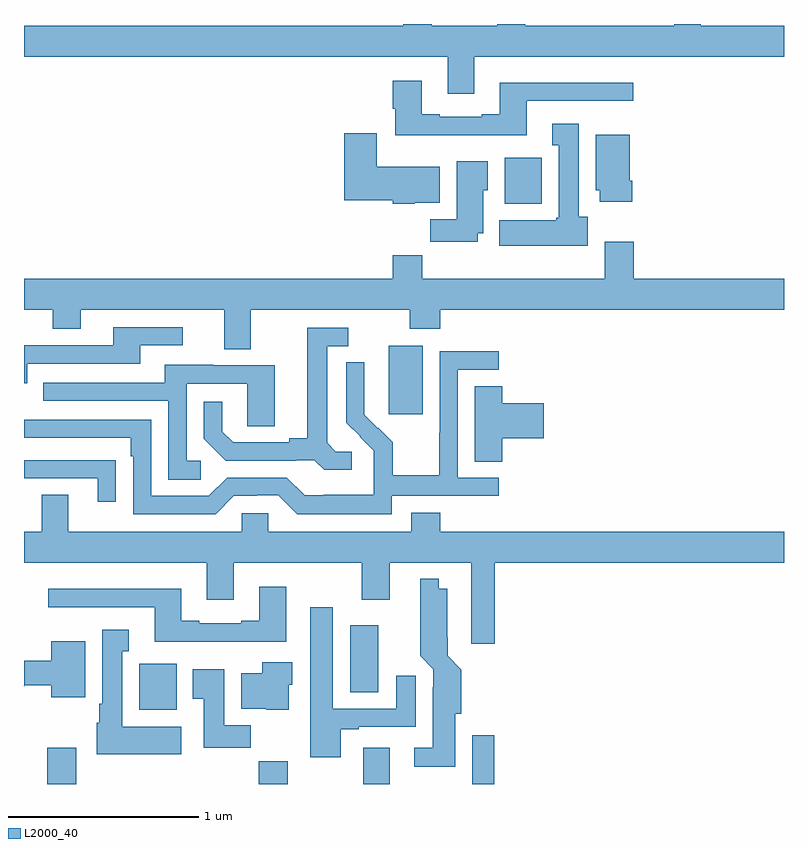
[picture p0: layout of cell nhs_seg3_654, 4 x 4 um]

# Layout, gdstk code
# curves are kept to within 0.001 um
import gdstk
lib = gdstk.Library(unit=1e-6, precision=1e-09)
def R(c, l, rs):  # rectangles x0, y0, x1, y1
    for r in rs: c.add(gdstk.rectangle(r[:2], r[2:], *l))
def P(c, l, *ps):  # polygons
    for p in ps: c.add(gdstk.Polygon(p, *l))
L2000_40 = (2000, 40)

nhs_seg3_654 = lib.new_cell('nhs_seg3_654')
R(nhs_seg3_654, L2000_40, [(143.123,718.4,143.275,718.591), (144.235,718.4,144.387,718.52), (144.785,718.4,144.925,718.591), (145.359,718.4,145.475,718.657), (143.606,718.79,143.803,719.032), (144.716,718.882,144.865,719.236), (144.92,720.345,145.099,720.706), (145.529,721.454,145.726,721.696)])
P(nhs_seg3_654, L2000_40, [(145.369,722.228),(147,722.228),(147,722.392),(146.563,722.392),(146.563,722.4),(146.423,722.4),(146.423,722.392),(145.639,722.392),(145.639,722.4),(145.492,722.4),(145.492,722.392),(145.147,722.392),(145.147,722.4),(144.995,722.4),(144.995,722.392),(143,722.392),(143,722.228),(145.229,722.228),(145.229,722.034),(145.369,722.034)],
  [(145.645,721.995),(146.206,721.995),(146.206,722.092),(145.505,722.092),(145.505,721.924),(145.409,721.924),(145.409,721.911),(145.189,721.911),(145.189,721.924),(145.093,721.924),(145.093,722.101),(144.941,722.101),(144.941,721.953),(144.953,721.953),(144.953,721.814),(145.645,721.814)],
  [(145.966,721.386),(145.921,721.386),(145.921,721.876),(145.781,721.876),(145.781,721.763),(145.814,721.763),(145.814,721.38),(145.801,721.38),(145.801,721.366),(145.502,721.366),(145.502,721.232),(145.966,721.232)],
  [(145.056,721.46),(145.189,721.46),(145.189,721.648),(144.856,721.648),(144.856,721.825),(144.686,721.825),(144.686,721.472),(144.942,721.472),(144.942,721.454),(145.056,721.454)],
  [(146.201,721.576),(146.188,721.576),(146.188,721.816),(146.009,721.816),(146.009,721.524),(146.03,721.524),(146.03,721.464),(146.201,721.464)],
  [(145.387,721.298),(145.417,721.298),(145.417,721.524),(145.441,721.524),(145.441,721.678),(145.277,721.678),(145.277,721.372),(145.138,721.372),(145.138,721.254),(145.387,721.254)],
  [(144.193,720.896),(145.03,720.896),(145.03,720.797),(145.19,720.797),(145.19,720.896),(147,720.896),(147,721.06),(146.21,721.06),(146.21,721.255),(146.057,721.255),(146.057,721.06),(145.097,721.06),(145.097,721.184),(144.941,721.184),(144.941,721.06),(143,721.06),(143,720.896),(143.152,720.896),(143.152,720.797),(143.299,720.797),(143.299,720.896),(144.053,720.896),(144.053,720.688),(144.193,720.688)],
  [(143.016,720.612),(143.611,720.612),(143.611,720.708),(143.836,720.708),(143.836,720.804),(143.471,720.804),(143.471,720.708),(143,720.708),(143,720.509),(143.016,720.509)],
  [(144.724,720.15),(144.642,720.15),(144.595,720.197),(144.595,720.705),(144.706,720.705),(144.706,720.801),(144.491,720.801),(144.491,720.221),(144.395,720.221),(144.395,720.198),(144.1,720.198),(144.043,720.255),(144.043,720.412),(143.946,720.412),(143.946,720.218),(144.062,720.102),(144.434,720.102),(144.434,720.105),(144.528,720.105),(144.58,720.053),(144.724,720.053)],
  [(144.936,719.916),(145.498,719.916),(145.498,720.012),(145.284,720.012),(145.284,720.579),(145.498,720.579),(145.498,720.678),(145.188,720.678),(145.188,720.248),(145.186,720.248),(145.186,720.025),(144.941,720.025),(144.941,720.199),(144.864,720.276),(144.861,720.273),(144.791,720.344),(144.792,720.62),(144.696,720.62),(144.696,720.302),(144.842,720.154),(144.842,720.057),(144.84,720.057),(144.84,719.923),(144.577,719.923),(144.577,719.919),(144.477,719.919),(144.384,720.012),(144.069,720.012),(143.973,719.916),(143.67,719.916),(143.67,720.318),(143,720.318),(143,720.222),(143.561,720.222),(143.561,720.125),(143.574,720.125),(143.574,719.82),(144.009,719.82),(144.105,719.916),(144.224,719.916),(144.224,719.919),(144.339,719.919),(144.439,719.819),(144.936,719.819)],
  [(143.929,720.102),(143.856,720.102),(143.856,720.507),(144.174,720.507),(144.174,720.283),(144.319,720.283),(144.319,720.603),(143.995,720.603),(143.995,720.607),(143.741,720.607),(143.741,720.513),(143.101,720.513),(143.101,720.417),(143.76,720.417),(143.76,720.001),(143.929,720.001)],
  [(145.517,720.221),(145.735,720.221),(145.735,720.404),(145.517,720.404),(145.517,720.494),(145.373,720.494),(145.373,720.097),(145.517,720.097)],
  [(143.483,720.104),(143.381,720.104),(143.381,720.105),(143,720.105),(143,720.009),(143.387,720.009),(143.387,719.886),(143.483,719.886)],
  [(145.478,719.564),(147,719.564),(147,719.728),(145.19,719.728),(145.19,719.827),(145.037,719.827),(145.037,719.728),(144.285,719.728),(144.285,719.826),(144.147,719.826),(144.147,719.728),(143.233,719.728),(143.233,719.923),(143.093,719.923),(143.093,719.728),(143,719.728),(143,719.564),(143.963,719.564),(143.963,719.37),(144.103,719.37),(144.103,719.564),(144.778,719.564),(144.778,719.37),(144.925,719.37),(144.925,719.564),(145.355,719.564),(145.355,719.139),(145.478,719.139)],
  [(145.27,718.77),(145.301,718.77),(145.301,719.002),(145.229,719.074),(145.228,719.428),(145.183,719.428),(145.183,719.479),(145.086,719.479),(145.085,719.074),(145.155,719.004),(145.155,718.91),(145.151,718.91),(145.151,718.591),(145.053,718.591),(145.053,718.49),(145.27,718.49)],
  [(144.379,719.437),(144.239,719.437),(144.239,719.26),(144.143,719.26),(144.143,719.247),(143.923,719.247),(143.923,719.26),(143.827,719.26),(143.827,719.428),(143.127,719.428),(143.127,719.331),(143.687,719.331),(143.687,719.15),(144.379,719.15)],
  [(144.667,718.689),(144.763,718.689),(144.763,718.701),(145.063,718.701),(145.063,718.969),(144.959,718.969),(144.959,718.797),(144.625,718.797),(144.625,719.329),(144.506,719.329),(144.506,718.542),(144.667,718.542)],
  [(143.827,718.702),(143.518,718.702),(143.518,719.099),(143.551,719.099),(143.551,719.212),(143.411,719.212),(143.411,718.822),(143.396,718.822),(143.396,718.722),(143.384,718.722),(143.384,718.556),(143.827,718.556)],
  [(143.323,719.152),(143.144,719.152),(143.144,719.048),(143,719.048),(143,718.912),(143.001,718.912),(143.001,718.92),(143.144,718.92),(143.144,718.856),(143.323,718.856)],
  [(144.394,718.923),(144.412,718.923),(144.412,719.041),(144.254,719.041),(144.254,718.984),(144.143,718.984),(144.143,718.796),(144.276,718.796),(144.276,718.79),(144.394,718.79)],
  [(144.194,718.708),(144.055,718.708),(144.055,719.005),(143.888,719.005),(143.888,718.849),(143.945,718.849),(143.945,718.59),(144.194,718.59)])

lib.write_gds('nhs_seg3_654.gds')
